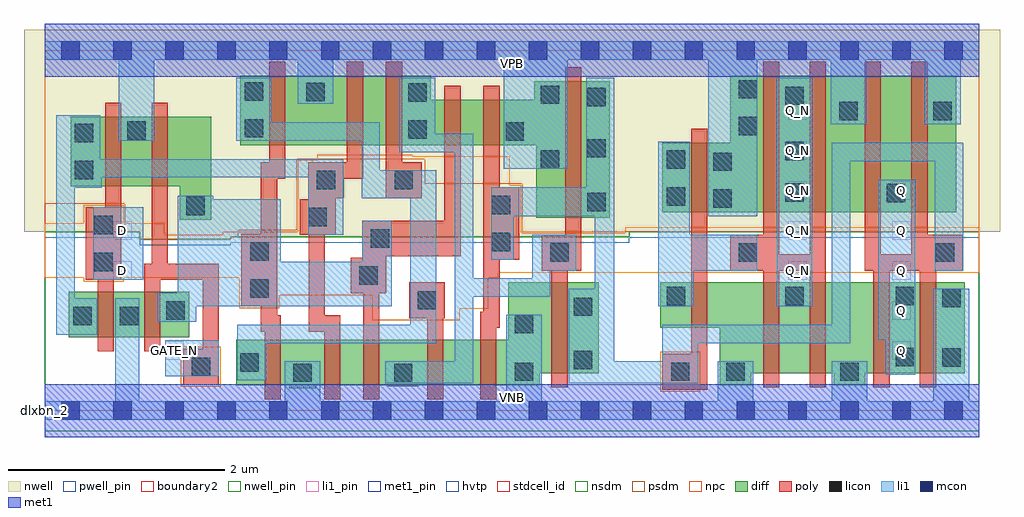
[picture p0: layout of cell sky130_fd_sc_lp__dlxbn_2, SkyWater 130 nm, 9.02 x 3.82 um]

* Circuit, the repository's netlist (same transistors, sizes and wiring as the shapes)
* Copyright 2020 The SkyWater PDK Authors
*
* Licensed under the Apache License, Version 2.0 (the "License");
* you may not use this file except in compliance with the License.
* You may obtain a copy of the License at
*
*     https://www.apache.org/licenses/LICENSE-2.0
*
* Unless required by applicable law or agreed to in writing, software
* distributed under the License is distributed on an "AS IS" BASIS,
* WITHOUT WARRANTIES OR CONDITIONS OF ANY KIND, either express or implied.
* See the License for the specific language governing permissions and
* limitations under the License.
*
* SPDX-License-Identifier: Apache-2.0

.SUBCKT sky130_fd_sc_lp__dlxbn_2 D GATE_N VGND VNB VPB VPWR Q Q_N
*.PININFO D:I GATE_N:I VGND:I VNB:I VPB:I VPWR:I Q:O Q_N:O
MI635 clkneg clkpos VPWR VPB sky130_fd_pr__pfet_01v8_hvt m=1 w=0.64U l=0.15U mult=1
+ sa=0.265 sb=0.265 sd=0.28 area=0.063 perim=1.14
MI648 Q_N net79 VPWR VPB sky130_fd_pr__pfet_01v8_hvt m=2 w=1.26U l=0.15U mult=1
+ sa=0.265 sb=0.265 sd=0.28 area=0.063 perim=1.14
MI17 M0 clkneg net51 VPB sky130_fd_pr__pfet_01v8_hvt m=1 w=0.64U l=0.15U mult=1
+ sa=0.265 sb=0.265 sd=0.28 area=0.063 perim=1.14
MI646 net79 m1 VPWR VPB sky130_fd_pr__pfet_01v8_hvt m=1 w=0.64U l=0.15U mult=1
+ sa=0.265 sb=0.265 sd=0.28 area=0.063 perim=1.14
MI650 Q m1 VPWR VPB sky130_fd_pr__pfet_01v8_hvt m=2 w=1.26U l=0.15U mult=1 sa=0.265
+ sb=0.265 sd=0.28 area=0.063 perim=1.14
MI633 clkpos GATE_N VPWR VPB sky130_fd_pr__pfet_01v8_hvt m=1 w=0.64U l=0.15U mult=1
+ sa=0.265 sb=0.265 sd=0.28 area=0.063 perim=1.14
MI18 net51 db VPWR VPB sky130_fd_pr__pfet_01v8_hvt m=1 w=0.64U l=0.15U mult=1 sa=0.265
+ sb=0.265 sd=0.28 area=0.063 perim=1.14
MI653 net59 m1 VPWR VPB sky130_fd_pr__pfet_01v8_hvt m=1 w=0.42U l=0.15U mult=1
+ sa=0.265 sb=0.265 sd=0.28 area=0.063 perim=1.14
MI651 M0 clkpos net59 VPB sky130_fd_pr__pfet_01v8_hvt m=1 w=0.42U l=0.15U mult=1
+ sa=0.265 sb=0.265 sd=0.28 area=0.063 perim=1.14
MI655 m1 M0 VPWR VPB sky130_fd_pr__pfet_01v8_hvt m=1 w=1.26U l=0.15U mult=1 sa=0.265
+ sb=0.265 sd=0.28 area=0.063 perim=1.14
MI638 db D VPWR VPB sky130_fd_pr__pfet_01v8_hvt m=1 w=0.64U l=0.15U mult=1 sa=0.265
+ sb=0.265 sd=0.28 area=0.063 perim=1.14
MI634 clkpos GATE_N VGND VNB sky130_fd_pr__nfet_01v8 m=1 w=0.42U l=0.15U mult=1
+ sa=0.265 sb=0.265 sd=0.28 area=0.063 perim=1.14
MI647 Q_N net79 VGND VNB sky130_fd_pr__nfet_01v8 m=2 w=0.84U l=0.15U mult=1 sa=0.265
+ sb=0.265 sd=0.28 area=0.063 perim=1.14
MI649 Q m1 VGND VNB sky130_fd_pr__nfet_01v8 m=2 w=0.84U l=0.15U mult=1 sa=0.265
+ sb=0.265 sd=0.28 area=0.063 perim=1.14
MI645 net79 m1 VGND VNB sky130_fd_pr__nfet_01v8 m=1 w=0.42U l=0.15U mult=1 sa=0.265
+ sb=0.265 sd=0.28 area=0.063 perim=1.14
MI652 M0 clkneg net102 VNB sky130_fd_pr__nfet_01v8 m=1 w=0.42U l=0.15U mult=1 sa=0.265
+ sb=0.265 sd=0.28 area=0.063 perim=1.14
MI654 net102 m1 VGND VNB sky130_fd_pr__nfet_01v8 m=1 w=0.42U l=0.15U mult=1 sa=0.265
+ sb=0.265 sd=0.28 area=0.063 perim=1.14
MI656 m1 M0 VGND VNB sky130_fd_pr__nfet_01v8 m=1 w=0.84U l=0.15U mult=1 sa=0.265
+ sb=0.265 sd=0.28 area=0.063 perim=1.14
MI636 clkneg clkpos VGND VNB sky130_fd_pr__nfet_01v8 m=1 w=0.42U l=0.15U mult=1
+ sa=0.265 sb=0.265 sd=0.28 area=0.063 perim=1.14
MI637 db D VGND VNB sky130_fd_pr__nfet_01v8 m=1 w=0.42U l=0.15U mult=1 sa=0.265
+ sb=0.265 sd=0.28 area=0.063 perim=1.14
MI19 M0 clkpos net98 VNB sky130_fd_pr__nfet_01v8 m=1 w=0.42U l=0.15U mult=1 sa=0.265
+ sb=0.265 sd=0.28 area=0.063 perim=1.14
MI20 net98 db VGND VNB sky130_fd_pr__nfet_01v8 m=1 w=0.42U l=0.15U mult=1 sa=0.265
+ sb=0.265 sd=0.28 area=0.063 perim=1.14
.ENDS sky130_fd_sc_lp__dlxbn_2

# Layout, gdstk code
import gdstk
lib = gdstk.Library(unit=1e-6, precision=1e-09)
def R(c, l, rs):  # rectangles x0, y0, x1, y1
    for r in rs: c.add(gdstk.rectangle(r[:2], r[2:], *l))
def A(c, l, x, y, w, h, nx, ny, dx, dy):  # array of equal rectangles
    R(c, l, [(x+i*dx, y+j*dy, x+i*dx+w, y+j*dy+h) for i in range(nx) for j in range(ny)])
def P(c, l, *ps):  # polygons
    for p in ps: c.add(gdstk.Polygon(p, *l))
nwell_pin = (64, 16)
nwell = (64, 20)
diff = (65, 20)
poly = (66, 20)
licon = (66, 44)
li1_pin = (67, 16)
li1 = (67, 20)
mcon = (67, 44)
met1_pin = (68, 16)
met1 = (68, 20)
hvtp = (78, 44)
stdcell_id = (81, 4)
nsdm = (93, 44)
psdm = (94, 20)
npc = (95, 20)
pwell_pin = (122, 16)
boundary2 = (236, 0)

sky130_fd_sc_lp__dlxbn_2 = lib.new_cell('sky130_fd_sc_lp__dlxbn_2')
R(sky130_fd_sc_lp__dlxbn_2, nwell_pin, [(0,3.085,8.64,3.33)])
P(sky130_fd_sc_lp__dlxbn_2, nwell, [(8.83,3.52),(-0.19,3.52),(-0.19,1.655),(0.88,1.655),(0.88,1.585),(1.72,1.585),(1.72,1.605),(5.405,1.605),(5.405,1.655),(8.83,1.655)])
R(sky130_fd_sc_lp__dlxbn_2, diff, [(0.225,0.68,1.335,1.1)])
P(sky130_fd_sc_lp__dlxbn_2, diff, [(1.54,2.715),(0.24,2.715),(0.24,2.075),(1.25,2.075),(1.25,1.765),(1.54,1.765)],
  [(5.12,1.185),(4.285,1.185),(4.285,0.655),(1.77,0.655),(1.77,0.235),(2.26,0.235),(2.26,0.205),(2.51,0.205),(2.51,0.235),(3.17,0.235),(3.17,0.225),(3.46,0.225),(3.46,0.235),(4.575,0.235),(4.575,0.345),(5.12,0.345)],
  [(5.225,3.045),(4.525,3.045),(4.525,2.875),(3.57,2.875),(3.57,3.095),(1.81,3.095),(1.81,2.455),(4.545,2.455),(4.545,1.785),(5.225,1.785)],
  [(8.425,3.095),(6.335,3.095),(6.335,2.475),(5.71,2.475),(5.71,1.835),(8.425,1.835)],
  [(8.505,1.185),(5.69,1.185),(5.69,0.765),(6.24,0.765),(6.24,0.235),(6.53,0.235),(6.53,0.345),(7.295,0.345),(7.295,0.235),(7.585,0.235),(7.585,0.345),(8.505,0.345)])
R(sky130_fd_sc_lp__dlxbn_2, poly, [(3.535,0.105,3.685,0.855), (3.37,0.855,3.7,1.185)])
P(sky130_fd_sc_lp__dlxbn_2, poly, [(0.71,2.845),(0.56,2.845),(0.56,1.88),(0.38,1.88),(0.38,1.21),(0.49,1.21),(0.49,0.55),(0.64,0.55),(0.64,1.21),(0.71,1.21)],
  [(1.61,1.36),(1.14,1.36),(1.14,2.845),(0.99,2.845),(0.99,1.36),(0.92,1.36),(0.92,0.55),(1.07,0.55),(1.07,1.21),(1.46,1.21),(1.46,0.57),(1.28,0.57),(1.28,0.24),(1.61,0.24)],
  [(2.735,0.88),(2.59,0.88),(2.59,1.685),(2.44,1.685),(2.44,0.73),(2.585,0.73),(2.585,0.105),(2.735,0.105)],
  [(2.945,3.225),(2.795,3.225),(2.795,2.295),(2.435,2.295),(2.435,1.955),(2.36,1.955),(2.36,1.625),(2.69,1.625),(2.69,1.965),(2.765,1.965),(2.765,2.145),(2.945,2.145)],
  [(3.485,2.295),(3.305,2.295),(3.305,3.225),(3.155,3.225),(3.155,1.965),(3.485,1.965)],
  [(3.845,3.005),(3.695,3.005),(3.695,1.755),(2.935,1.755),(2.935,1.415),(2.83,1.415),(2.83,1.085),(2.945,1.085),(2.945,0.105),(3.095,0.105),(3.095,1.085),(3.16,1.085),(3.16,1.425),(3.845,1.425)],
  [(4.385,2.065),(4.205,2.065),(4.205,3.005),(4.055,3.005),(4.055,0.915),(4.025,0.915),(4.025,0.105),(4.175,0.105),(4.175,0.765),(4.205,0.765),(4.205,1.395),(4.385,1.395)],
  [(6.125,2.605),(5.975,2.605),(5.975,0.525),(5.71,0.525),(5.71,0.195),(6.125,0.195)],
  [(7.22,3.225),(7.07,3.225),(7.07,1.445),(6.79,1.445),(6.79,3.225),(6.64,3.225),(6.64,1.625),(6.335,1.625),(6.335,1.295),(6.64,1.295),(6.64,0.215),(6.79,0.215),(6.79,1.295),(7.07,1.295),(7.07,0.215),(7.22,0.215)],
  [(8.485,1.625),(8.16,1.625),(8.16,3.225),(8.01,3.225),(8.01,1.445),(7.73,1.445),(7.73,3.225),(7.58,3.225),(7.58,1.295),(7.66,1.295),(7.66,0.215),(7.81,0.215),(7.81,1.295),(8.09,1.295),(8.09,0.215),(8.24,0.215),(8.24,1.295),(8.485,1.295)],
  [(2.225,3.225),(2.075,3.225),(2.075,2.295),(2,2.295),(2,1.635),(1.82,1.635),(1.82,0.965),(2,0.965),(2,0.73),(2.035,0.73),(2.035,0.105),(2.185,0.105),(2.185,0.88),(2.15,0.88),(2.15,2.145),(2.225,2.145)],
  [(4.96,3.175),(4.81,3.175),(4.81,1.625),(4.595,1.625),(4.595,1.295),(4.685,1.295),(4.685,0.215),(4.835,0.215),(4.835,1.295),(4.96,1.295)])
R(sky130_fd_sc_lp__dlxbn_2, licon, [(2.3,0.265,2.47,0.435), (3.23,0.265,3.4,0.435), (4.345,0.275,4.515,0.445), (5.79,0.275,5.96,0.445), (6.3,0.275,6.47,0.445), (7.355,0.275,7.525,0.445), (1.36,0.32,1.53,0.49), (1.81,0.36,1.98,0.53), (4.89,0.385,5.06,0.555), (8.295,0.405,8.465,0.575), (7.865,0.41,8.035,0.58), (4.345,0.715,4.515,0.885), (0.265,0.79,0.435,0.96), (0.695,0.79,0.865,0.96), (1.125,0.84,1.295,1.01), (4.89,0.875,5.06,1.045), (3.45,0.935,3.62,1.105), (8.295,0.955,8.465,1.125), (5.75,0.975,5.92,1.145), (6.845,0.975,7.015,1.145), (7.865,0.975,8.035,1.145), (1.9,1.045,2.07,1.215), (2.91,1.165,3.08,1.335), (0.46,1.29,0.63,1.46), (4.675,1.375,4.845,1.545), (6.415,1.375,6.585,1.545), (8.235,1.375,8.405,1.545), (1.9,1.385,2.07,1.555), (4.135,1.475,4.305,1.645), (3.015,1.505,3.185,1.675), (0.46,1.63,0.63,1.8), (2.44,1.705,2.61,1.875), (1.31,1.805,1.48,1.975), (4.135,1.815,4.305,1.985), (5.015,1.845,5.185,2.015), (6.18,1.875,6.35,2.045), (5.75,1.895,5.92,2.065), (7.785,1.925,7.955,2.095), (6.845,1.93,7.015,2.1), (2.515,2.045,2.685,2.215), (3.235,2.045,3.405,2.215), (0.28,2.14,0.45,2.31), (6.18,2.215,6.35,2.385), (4.585,2.235,4.755,2.405), (5.75,2.235,5.92,2.405), (6.845,2.315,7.015,2.485), (5.015,2.34,5.185,2.51), (0.28,2.48,0.45,2.65), (4.26,2.495,4.43,2.665), (0.765,2.505,0.935,2.675), (3.36,2.515,3.53,2.685), (1.85,2.525,2.02,2.695), (6.415,2.545,6.585,2.715), (7.345,2.685,7.515,2.855), (8.215,2.685,8.385,2.855), (5.015,2.815,5.185,2.985), (6.845,2.825,7.015,2.995), (4.585,2.835,4.755,3.005), (3.36,2.855,3.53,3.025), (2.42,2.86,2.59,3.03), (1.85,2.865,2.02,3.035), (6.415,2.885,6.585,3.055)])
A(sky130_fd_sc_lp__dlxbn_2, li1_pin, 7.835, 0.47, 0.17, 0.17, 1, 5, 0, 0.37)
A(sky130_fd_sc_lp__dlxbn_2, li1_pin, 6.875, 1.21, 0.17, 0.17, 1, 5, 0, 0.37)
R(sky130_fd_sc_lp__dlxbn_2, li1_pin, [(1.115,0.47,1.285,0.64), (0.635,1.21,0.805,1.38), (0.635,1.58,0.805,1.75)])
R(sky130_fd_sc_lp__dlxbn_2, li1, [(1.115,0.32,1.61,0.65), (6.765,0.965,7.095,3.075), (0.45,1.21,0.91,1.88)])
P(sky130_fd_sc_lp__dlxbn_2, li1, [(8.64,3.415),(0,3.415),(0,3.245),(0.685,3.245),(0.685,2.495),(1.015,2.495),(1.015,3.245),(2.34,3.245),(2.34,2.835),(2.67,2.835),(2.67,3.245),(4.245,3.245),(4.245,2.235),(4.835,2.235),(4.835,3.245),(6.135,3.245),(6.135,1.795),(6.585,1.795),(6.585,3.245),(7.265,3.245),(7.265,2.645),(7.595,2.645),(7.595,3.245),(8.135,3.245),(8.135,2.645),(8.465,2.645),(8.465,3.245),(8.64,3.245)],
  [(4.265,0.085),(4.265,0.885),(4.595,0.885),(4.595,0.085),(6.22,0.085),(6.22,0.455),(6.55,0.455),(6.55,0.085),(7.275,0.085),(7.275,0.455),(7.605,0.455),(7.605,0.085),(8.215,0.085),(8.215,1.125),(8.545,1.125),(8.545,0.085),(8.64,0.085),(8.64,-0.085),(0,-0.085),(0,0.085),(0.655,0.085),(0.655,1.04),(0.875,1.04),(0.875,0.085),(2.22,0.085),(2.22,0.455),(2.55,0.455),(2.55,0.085)],
  [(3.21,1.755),(2.935,1.755),(2.935,1.375),(2.185,1.375),(2.185,1.955),(1.56,1.955),(1.56,1.985),(1.23,1.985),(1.23,1.09),(1.045,1.09),(1.045,0.82),(1.4,0.82),(1.4,0.965),(3.21,0.965)],
  [(8.045,2.135),(7.705,2.135),(7.705,0.655),(7.775,0.655),(7.775,0.33),(8.045,0.33)],
  [(5.965,2.485),(5.965,1.625),(6.585,1.625),(6.585,1.295),(6,1.295),(6,0.965),(5.67,0.965),(5.67,2.485)],
  [(2.1,2.665),(3.1,2.665),(3.1,2.22),(3.62,2.22),(3.62,0.625),(2.05,0.625),(2.05,0.28),(1.78,0.28),(1.78,0.795),(3.38,0.795),(3.38,1.965),(2.93,1.965),(2.93,2.495),(1.77,2.495),(1.77,3.075),(2.1,3.075)],
  [(2.76,2.325),(0.515,2.325),(0.515,2.73),(0.11,2.73),(0.11,0.7),(0.485,0.7),(0.485,1.04),(0.28,1.04),(0.28,2.06),(0.53,2.06),(0.53,2.155),(2.435,2.155),(2.435,1.625),(2.76,1.625)],
  [(8.49,2.475),(7.275,2.475),(7.275,0.795),(5.71,0.795),(5.71,0.255),(6.04,0.255),(6.04,0.625),(7.445,0.625),(7.445,2.305),(8.225,2.305),(8.225,1.295),(8.49,1.295)],
  [(4.915,1.625),(4.505,1.625),(4.505,1.225),(3.96,1.225),(3.96,2.56),(3.61,2.56),(3.61,3.075),(3.28,3.075),(3.28,2.39),(3.79,2.39),(3.79,0.455),(3.15,0.455),(3.15,0.255),(3.96,0.255),(3.96,1.055),(4.675,1.055),(4.675,1.295),(4.915,1.295)],
  [(5.71,0.455),(5.265,0.455),(5.265,3.075),(5.005,3.075),(5.005,2.065),(4.13,2.065),(4.13,1.395),(4.335,1.395),(4.335,1.795),(5.085,1.795),(5.085,1.125),(4.845,1.125),(4.845,0.255),(5.71,0.255)])
A(sky130_fd_sc_lp__dlxbn_2, mcon, 0.155, -0.085, 0.17, 0.17, 18, 2, 0.48, 3.33)
R(sky130_fd_sc_lp__dlxbn_2, met1_pin, [(0,0,8.64,0.245), (0,3.085,8.64,3.33)])
R(sky130_fd_sc_lp__dlxbn_2, met1, [(0,-0.245,8.64,0.245), (0,3.085,8.64,3.575)])
P(sky130_fd_sc_lp__dlxbn_2, hvtp, [(8.64,3.33),(0,3.33),(0,1.6),(0.88,1.6),(0.88,1.53),(1.72,1.53),(1.72,1.55),(5.405,1.55),(5.405,1.6),(8.64,1.6)])
R(sky130_fd_sc_lp__dlxbn_2, stdcell_id, [(0,0,8.64,3.33)])
P(sky130_fd_sc_lp__dlxbn_2, nsdm, [(8.64,1.655),(5.405,1.655),(5.405,1.605),(1.72,1.605),(1.72,1.585),(0.88,1.585),(0.88,1.655),(0,1.655),(0,-0.19),(8.64,-0.19)])
P(sky130_fd_sc_lp__dlxbn_2, psdm, [(8.64,3.52),(0,3.52),(0,1.91),(0.74,1.91),(0.74,1.655),(0.88,1.655),(0.88,1.585),(1.72,1.585),(1.72,1.605),(1.79,1.605),(1.79,1.665),(2.33,1.665),(2.33,2.325),(3.515,2.325),(3.515,2.095),(4.415,2.095),(4.415,1.655),(8.64,1.655)])
R(sky130_fd_sc_lp__dlxbn_2, npc, [(5.69,0.175,6.06,0.545), (1.26,0.22,1.63,0.59)])
P(sky130_fd_sc_lp__dlxbn_2, npc, [(8.64,1.695),(5.365,1.695),(5.365,1.645),(4.405,1.645),(4.405,2.085),(4.3,2.085),(4.3,2.35),(3.4,2.35),(3.4,2.365),(2.52,2.365),(2.52,2.315),(2.34,2.315),(2.34,1.655),(1.645,1.655),(1.645,1.625),(1.11,1.625),(1.11,1.73),(0.73,1.73),(0.73,1.9),(0.36,1.9),(0.36,1.73),(0,1.73),(0,1.23),(0.36,1.23),(0.36,1.19),(0.73,1.19),(0.73,1.23),(1.8,1.23),(1.8,0.945),(2.17,0.945),(2.17,1.065),(3.03,1.065),(3.03,0.835),(3.835,0.835),(3.835,0.94),(4.1,0.94),(4.1,1.23),(4.195,1.23),(4.195,1.275),(8.64,1.275)])
R(sky130_fd_sc_lp__dlxbn_2, pwell_pin, [(0,0,8.64,0.245)])
R(sky130_fd_sc_lp__dlxbn_2, boundary2, [(0,0,8.64,3.33)])
sky130_fd_sc_lp__dlxbn_2.add(gdstk.Label('VNB', (4.32,0.123), layer=64, texttype=59))
sky130_fd_sc_lp__dlxbn_2.add(gdstk.Label('VPB', (4.32,3.208), layer=64, texttype=5))
sky130_fd_sc_lp__dlxbn_2.add(gdstk.Label('dlxbn_2', (0,0), layer=83, texttype=44))
sky130_fd_sc_lp__dlxbn_2.add(gdstk.Label('VPWR', (4.32,3.208), layer=68, texttype=5))
sky130_fd_sc_lp__dlxbn_2.add(gdstk.Label('VGND', (4.32,0.123), layer=68, texttype=5))
sky130_fd_sc_lp__dlxbn_2.add(gdstk.Label('Q', (7.92,0.555), layer=67, texttype=5))
sky130_fd_sc_lp__dlxbn_2.add(gdstk.Label('Q', (7.92,0.925), layer=67, texttype=5))
sky130_fd_sc_lp__dlxbn_2.add(gdstk.Label('Q', (7.92,1.295), layer=67, texttype=5))
sky130_fd_sc_lp__dlxbn_2.add(gdstk.Label('Q', (7.92,1.665), layer=67, texttype=5))
sky130_fd_sc_lp__dlxbn_2.add(gdstk.Label('Q', (7.92,2.035), layer=67, texttype=5))
sky130_fd_sc_lp__dlxbn_2.add(gdstk.Label('Q_N', (6.96,1.295), layer=67, texttype=5))
sky130_fd_sc_lp__dlxbn_2.add(gdstk.Label('Q_N', (6.96,1.665), layer=67, texttype=5))
sky130_fd_sc_lp__dlxbn_2.add(gdstk.Label('Q_N', (6.96,2.035), layer=67, texttype=5))
sky130_fd_sc_lp__dlxbn_2.add(gdstk.Label('Q_N', (6.96,2.405), layer=67, texttype=5))
sky130_fd_sc_lp__dlxbn_2.add(gdstk.Label('Q_N', (6.96,2.775), layer=67, texttype=5))
sky130_fd_sc_lp__dlxbn_2.add(gdstk.Label('D', (0.72,1.295), layer=67, texttype=5))
sky130_fd_sc_lp__dlxbn_2.add(gdstk.Label('D', (0.72,1.665), layer=67, texttype=5))
sky130_fd_sc_lp__dlxbn_2.add(gdstk.Label('GATE_N', (1.2,0.555), layer=67, texttype=5))

lib.write_gds('sky130_fd_sc_lp__dlxbn_2.gds')
